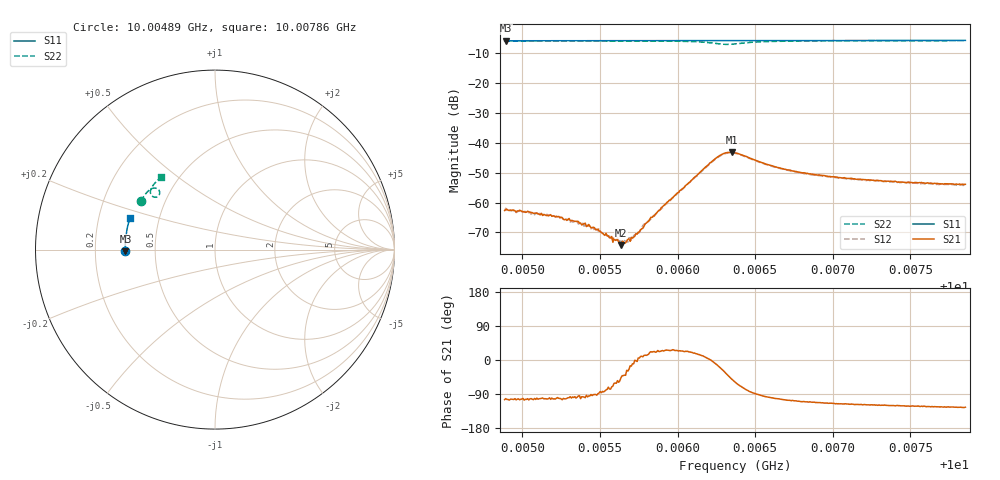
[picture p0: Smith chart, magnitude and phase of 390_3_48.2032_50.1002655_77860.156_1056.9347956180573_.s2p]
#  HZ  S  RI  R  50.00
! Rohde & Schwarz Vector Network Analyzer
! Rohde-Schwarz,ZNB20-2Port,1311601062101988,3.16
! Created: UTC 3/20/2024, 11:53:35 AM
! freq[Hz]  re:S11  im:S11  re:S21  im:S21  re:S12  im:S12  re:S22  im:S22
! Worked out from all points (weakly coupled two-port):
!   401 points, 10.00489 GHz to 10.00786 GHz, reference 50 ohm
!   highest |S21| = -43.25 dB at 10.00635 GHz (marker M1); lowest = -74.1 dB at 10.00564 GHz (marker M2)
!   lowest |S11| = -6.0 dB at 10.00489 GHz (marker M3), VSWR 2.99, Z = 16.7 - j0.413 ohm
!   |S11| at or under -10 dB: nowhere
!   |S22| runs from -7.2 to -6.0 dB; largest |S21 - S12| = 0.00042
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1.0004885e10  -0.4992 -0.00956  -0.000185 -0.000711  -0.000137 -0.000713  -0.4134 0.2708
1.0004893e10  -0.4991 -0.00928  -0.000157 -0.000745  -0.000135 -0.00079  -0.4129 0.2712
1.0005049e10  -0.4996 0.00101  -0.000152 -0.000673  -0.000153 -0.000669  -0.4074 0.2806
1.000516e10  -0.4999 0.00815  -0.000137 -0.000592  -0.000111 -0.000624  -0.4034 0.287
1.0005234e10  -0.5 0.013  -0.000114 -0.000574  -7.83e-05 -0.000553  -0.4005 0.2914
1.0005383e10  -0.4998 0.0225  -5.1e-05 -0.000418  -3.27e-05 -0.000443  -0.3942 0.3004
1.0005472e10  -0.4997 0.0285  -6.22e-06 -0.000351  5.5e-05 -0.000359  -0.3902 0.3057
1.0005568e10  -0.4995 0.0347  5.83e-05 -0.00025  0.000105 -0.000268  -0.3858 0.3114
1.0005635e10  -0.4993 0.039  0.000135 -0.000144  0.000111 -0.00015  -0.3822 0.3157
1.000565e10  -0.4993 0.0401  0.000167 -0.000147  0.000183 -0.000115  -0.3814 0.3164
1.000571e10  -0.499 0.0438  0.000252 -4.45e-05  0.000236 -7.02e-05  -0.3781 0.3203
1.000588e10  -0.4982 0.0548  0.000686 0.00028  0.000645 0.00033  -0.3665 0.3313
1.0006133e10  -0.4966 0.0713  0.00288 0.00076  0.00277 0.000878  -0.3345 0.3432
1.0006244e10  -0.4954 0.0782  0.00534 -0.000871  0.00525 -0.000609  -0.3105 0.3274
1.0006303e10  -0.4949 0.0819  0.00566 -0.00349  0.00569 -0.00315  -0.3108 0.305
1.0006348e10  -0.4945 0.0844  0.00442 -0.00527  0.0046 -0.00494  -0.3243 0.293
1.000637e10  -0.4943 0.0859  0.00353 -0.00574  0.00375 -0.00543  -0.3326 0.2916
1.0006638e10  -0.492 0.1029  -0.000803 -0.00381  -0.000637 -0.0038  -0.3584 0.3323
1.0006868e10  -0.4894 0.1175  -0.00109 -0.00277  -0.000928 -0.00275  -0.3481 0.3534
1.0007053e10  -0.4869 0.1293  -0.00111 -0.00233  -0.001 -0.00235  -0.3389 0.3657
1.0007365e10  -0.4819 0.1488  -0.00113 -0.00195  -0.001 -0.00196  -0.3233 0.3828
1.0007855e10  -0.4725 0.1787  -0.00114 -0.00166  -0.00103 -0.00166  -0.2984 0.4055
